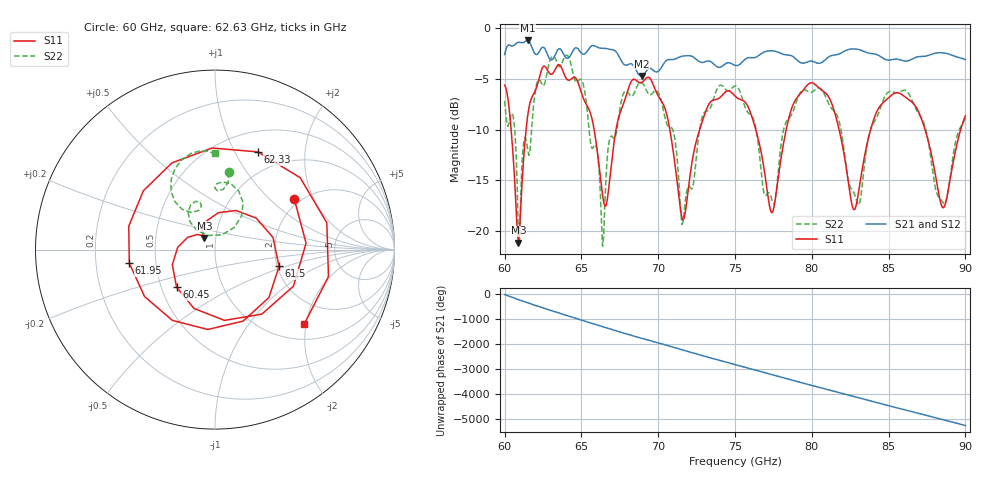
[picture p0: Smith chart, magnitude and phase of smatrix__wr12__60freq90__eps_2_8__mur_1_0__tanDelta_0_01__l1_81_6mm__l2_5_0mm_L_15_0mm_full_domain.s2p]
# Hz S RI R 50
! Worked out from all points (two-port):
!   401 points, 60 GHz to 90 GHz, reference 50 ohm
!   highest |S21| = -1.22 dB at 61.5 GHz (marker M1); lowest = -4.7 dB at 68.93 GHz (marker M2)
!   |S21| within 3 dB of the highest: start of sweep to 68.59 GHz; 70.04 GHz to end of sweep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
!   lowest |S11| = -21.1 dB at 60.9 GHz (marker M3), VSWR 1.19, Z = 44.1 + j5.8 ohm
!   |S11| at or under -10 dB: 76.35 GHz to 78.33 GHz (1.984 GHz wide, 2.57 % of centre); 81.78 GHz to 83.83 GHz (2.054 GHz wide, 2.48 % of centre); 87.37 GHz to 89.69 GHz (2.32 GHz wide, 2.62 % of centre)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
!   |S22| runs from -21.5 to -2.7 dB; largest |S21 - S12| = 1.3e-05
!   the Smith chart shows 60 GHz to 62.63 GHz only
!   S11 on the Smith chart (normalised r, x): 60 GHz: 1.86, +1.44; 60.45 GHz: 0.60, -0.28; 61.5 GHz: 2.05, -0.44; 61.95 GHz: 0.35, -0.07; 62.33 GHz: 0.74, +1.24; 62.63 GHz: 1.36, -1.95
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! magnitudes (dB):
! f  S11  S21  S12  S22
! 60 GHz  -5.6  -2.6  -2.6  -7.2
! 60.45 GHz  -10.5  -1.8  -1.8  -8.4
! 60.9 GHz  -21.1  -1.4  -1.4  -20.8
! 61.5 GHz  -8.7  -1.2  -1.2  -12.0
! 61.95 GHz  -6.3  -2.5  -2.5  -6.7
! 62.33 GHz  -4.5  -2.2  -2.2  -5.2
! 62.63 GHz  -3.8  -2.0  -2.0  -5.4
! 65.03 GHz  -6.5  -2.5  -2.5  -5.1
! 66.38 GHz  -16.4  -2.0  -2.0  -21.5
! 67.65 GHz  -7.8  -3.4  -3.4  -6.8
! 68.93 GHz  -5.4  -4.7  -4.7  -5.4
! 70.05 GHz  -6.8  -4.2  -4.2  -6.5
! 71.62 GHz  -18.9  -2.8  -2.8  -19.0
! 73.2 GHz  -7.8  -3.2  -3.2  -8.2
! 75 GHz  -6.7  -3.7  -3.7  -5.7
! 77.4 GHz  -18.2  -2.2  -2.2  -16.9
! 80.03 GHz  -5.4  -3.3  -3.3  -6.3
! 82.73 GHz  -17.9  -2.1  -2.1  -16.2
! 85.05 GHz  -6.8  -3.1  -3.1  -6.3
! 86.93 GHz  -8.2  -2.8  -2.8  -8.4
! 88.58 GHz  -17.7  -2.4  -2.4  -17.2
! 90 GHz  -8.6  -3.1  -3.1  -8.9
